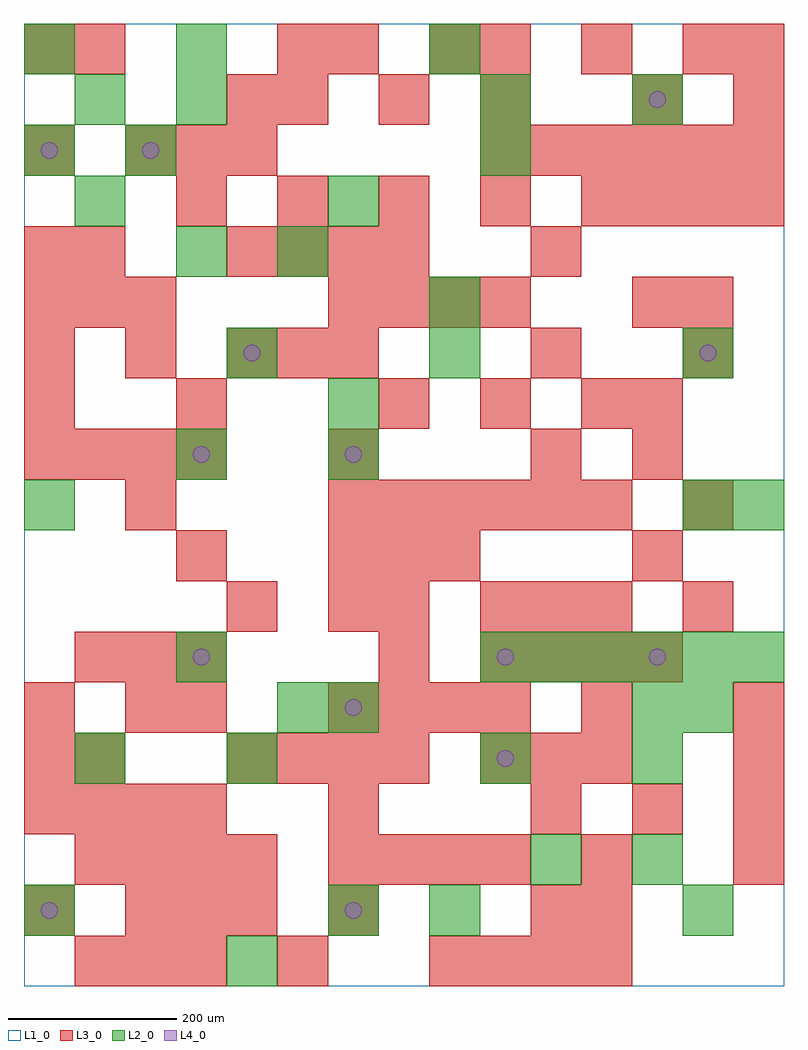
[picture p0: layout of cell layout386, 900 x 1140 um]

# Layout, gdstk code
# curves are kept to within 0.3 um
import gdstk
lib = gdstk.Library(unit=1e-6, precision=1e-09)
def R(c, l, rs):  # rectangles x0, y0, x1, y1
    for r in rs: c.add(gdstk.rectangle(r[:2], r[2:], *l))
def A(c, l, x, y, w, h, nx, ny, dx, dy):  # array of equal rectangles
    R(c, l, [(x+i*dx, y+j*dy, x+i*dx+w, y+j*dy+h) for i in range(nx) for j in range(ny)])
def P(c, l, *ps):  # polygons
    for p in ps: c.add(gdstk.Polygon(p, *l))
L1_0 = (1, 0)
L2_0 = (2, 0)
L3_0 = (3, 0)
L4_0 = (4, 0)

layout386 = lib.new_cell('layout386')
R(layout386, L1_0, [(0,0,900,1140)])
A(layout386, L2_0, 780, 60, 60, 60, 1, 3, 0, 240)
A(layout386, L2_0, 180, 360, 60, 60, 1, 3, 0, 240)
A(layout386, L2_0, 540, 360, 60, 60, 6, 1, 60, 0)
R(layout386, L2_0, [(240,0,300,60), (0,60,60,120), (360,60,420,120), (480,60,540,120), (600,120,660,180), (720,120,780,180), (60,240,120,300), (240,240,300,300), (540,240,600,300), (720,240,780,300), (300,300,360,360), (360,300,420,360), (720,300,780,360), (0,540,60,600), (840,540,900,600), (360,600,420,660), (360,660,420,720), (240,720,300,780), (480,720,540,780), (780,720,840,780), (480,780,540,840), (300,840,360,900), (60,900,120,960), (360,900,420,960), (0,960,60,1020), (120,960,180,1020), (540,960,600,1020), (60,1020,120,1080), (180,1020,240,1080), (540,1020,600,1080), (720,1020,780,1080), (0,1080,60,1140), (180,1080,240,1140), (480,1080,540,1140)])
A(layout386, L3_0, 60, 0, 60, 60, 3, 2, 60, 360)
A(layout386, L3_0, 480, 0, 60, 60, 4, 1, 60, 0)
A(layout386, L3_0, 120, 60, 60, 60, 3, 2, 60, 900)
A(layout386, L3_0, 60, 120, 60, 60, 4, 1, 60, 0)
A(layout386, L3_0, 360, 120, 60, 60, 4, 2, 60, 180)
A(layout386, L3_0, 0, 180, 60, 60, 4, 2, 60, 420)
A(layout386, L3_0, 600, 180, 60, 60, 3, 1, 120, 0)
A(layout386, L3_0, 240, 240, 60, 60, 4, 2, 60, 600)
A(layout386, L3_0, 540, 240, 60, 60, 3, 2, 60, 180)
A(layout386, L3_0, 180, 300, 60, 60, 1, 3, 0, 180)
A(layout386, L3_0, 540, 360, 60, 60, 4, 1, 60, 0)
A(layout386, L3_0, 360, 480, 60, 60, 3, 1, 60, 0)
A(layout386, L3_0, 360, 540, 60, 60, 6, 1, 60, 0)
A(layout386, L3_0, 600, 600, 60, 60, 1, 3, 0, 120)
A(layout386, L3_0, 420, 660, 60, 60, 3, 1, 120, 0)
A(layout386, L3_0, 0, 720, 60, 60, 3, 1, 120, 0)
A(layout386, L3_0, 0, 780, 60, 60, 3, 1, 60, 0)
A(layout386, L3_0, 360, 780, 60, 60, 4, 1, 60, 0)
A(layout386, L3_0, 0, 840, 60, 60, 1, 3, 0, 120)
A(layout386, L3_0, 180, 900, 60, 60, 5, 1, 120, 0)
A(layout386, L3_0, 720, 900, 60, 60, 3, 1, 60, 0)
A(layout386, L3_0, 540, 960, 60, 60, 6, 1, 60, 0)
A(layout386, L3_0, 300, 1020, 60, 60, 3, 1, 120, 0)
A(layout386, L3_0, 540, 1080, 60, 60, 3, 1, 120, 0)
R(layout386, L3_0, [(300,0,360,60), (0,60,60,120), (360,60,420,120), (600,60,660,120), (660,60,720,120), (660,120,720,180), (840,120,900,180), (360,180,420,240), (0,240,60,300), (60,240,120,300), (840,240,900,300), (0,300,60,360), (120,300,180,360), (660,300,720,360), (840,300,900,360), (420,360,480,420), (240,420,300,480), (360,420,420,480), (420,420,480,480), (780,420,840,480), (720,480,780,540), (120,540,180,600), (780,540,840,600), (360,600,420,660), (720,600,780,660), (0,660,60,720), (720,660,780,720), (300,720,360,780), (360,720,420,780), (780,720,840,780), (720,780,780,840), (780,780,840,840), (60,840,120,900), (240,1020,300,1080), (720,1020,780,1080), (840,1020,900,1080), (60,1080,120,1140), (300,1080,360,1140), (360,1080,420,1140), (480,1080,540,1140), (840,1080,900,1140)])
P(layout386, L4_0, [(40,90),(39.239,93.827),(37.071,97.071),(33.827,99.239),(30,100),(26.173,99.239),(22.929,97.071),(20.761,93.827),(20,90),(20.761,86.173),(22.929,82.929),(26.173,80.761),(30,80),(33.827,80.761),(37.071,82.929),(39.239,86.173)],
  [(40,990),(39.239,993.827),(37.071,997.071),(33.827,999.239),(30,1000),(26.173,999.239),(22.929,997.071),(20.761,993.827),(20,990),(20.761,986.173),(22.929,982.929),(26.173,980.761),(30,980),(33.827,980.761),(37.071,982.929),(39.239,986.173)],
  [(160,990),(159.239,993.827),(157.071,997.071),(153.827,999.239),(150,1000),(146.173,999.239),(142.929,997.071),(140.761,993.827),(140,990),(140.761,986.173),(142.929,982.929),(146.173,980.761),(150,980),(153.827,980.761),(157.071,982.929),(159.239,986.173)],
  [(220,390),(219.239,393.827),(217.071,397.071),(213.827,399.239),(210,400),(206.173,399.239),(202.929,397.071),(200.761,393.827),(200,390),(200.761,386.173),(202.929,382.929),(206.173,380.761),(210,380),(213.827,380.761),(217.071,382.929),(219.239,386.173)],
  [(220,630),(219.239,633.827),(217.071,637.071),(213.827,639.239),(210,640),(206.173,639.239),(202.929,637.071),(200.761,633.827),(200,630),(200.761,626.173),(202.929,622.929),(206.173,620.761),(210,620),(213.827,620.761),(217.071,622.929),(219.239,626.173)],
  [(280,750),(279.239,753.827),(277.071,757.071),(273.827,759.239),(270,760),(266.173,759.239),(262.929,757.071),(260.761,753.827),(260,750),(260.761,746.173),(262.929,742.929),(266.173,740.761),(270,740),(273.827,740.761),(277.071,742.929),(279.239,746.173)],
  [(400,90),(399.239,93.827),(397.071,97.071),(393.827,99.239),(390,100),(386.173,99.239),(382.929,97.071),(380.761,93.827),(380,90),(380.761,86.173),(382.929,82.929),(386.173,80.761),(390,80),(393.827,80.761),(397.071,82.929),(399.239,86.173)],
  [(400,330),(399.239,333.827),(397.071,337.071),(393.827,339.239),(390,340),(386.173,339.239),(382.929,337.071),(380.761,333.827),(380,330),(380.761,326.173),(382.929,322.929),(386.173,320.761),(390,320),(393.827,320.761),(397.071,322.929),(399.239,326.173)],
  [(400,630),(399.239,633.827),(397.071,637.071),(393.827,639.239),(390,640),(386.173,639.239),(382.929,637.071),(380.761,633.827),(380,630),(380.761,626.173),(382.929,622.929),(386.173,620.761),(390,620),(393.827,620.761),(397.071,622.929),(399.239,626.173)],
  [(580,270),(579.239,273.827),(577.071,277.071),(573.827,279.239),(570,280),(566.173,279.239),(562.929,277.071),(560.761,273.827),(560,270),(560.761,266.173),(562.929,262.929),(566.173,260.761),(570,260),(573.827,260.761),(577.071,262.929),(579.239,266.173)],
  [(580,390),(579.239,393.827),(577.071,397.071),(573.827,399.239),(570,400),(566.173,399.239),(562.929,397.071),(560.761,393.827),(560,390),(560.761,386.173),(562.929,382.929),(566.173,380.761),(570,380),(573.827,380.761),(577.071,382.929),(579.239,386.173)],
  [(760,390),(759.239,393.827),(757.071,397.071),(753.827,399.239),(750,400),(746.173,399.239),(742.929,397.071),(740.761,393.827),(740,390),(740.761,386.173),(742.929,382.929),(746.173,380.761),(750,380),(753.827,380.761),(757.071,382.929),(759.239,386.173)],
  [(760,1050),(759.239,1053.827),(757.071,1057.071),(753.827,1059.239),(750,1060),(746.173,1059.239),(742.929,1057.071),(740.761,1053.827),(740,1050),(740.761,1046.173),(742.929,1042.929),(746.173,1040.761),(750,1040),(753.827,1040.761),(757.071,1042.929),(759.239,1046.173)],
  [(820,750),(819.239,753.827),(817.071,757.071),(813.827,759.239),(810,760),(806.173,759.239),(802.929,757.071),(800.761,753.827),(800,750),(800.761,746.173),(802.929,742.929),(806.173,740.761),(810,740),(813.827,740.761),(817.071,742.929),(819.239,746.173)])

lib.write_gds('layout386.gds')
